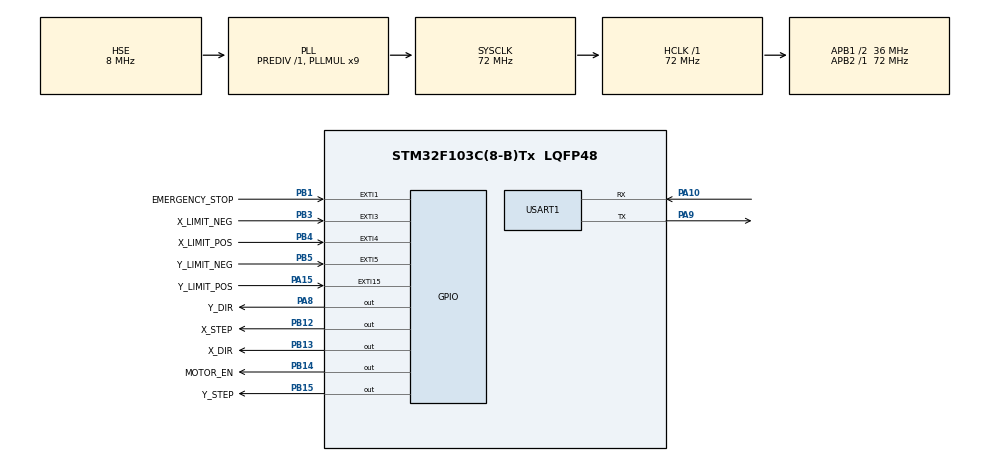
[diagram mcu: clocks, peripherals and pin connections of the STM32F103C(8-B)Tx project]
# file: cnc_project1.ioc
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Mcu.Family=STM32F1
Mcu.Name=STM32F103C(8-B)Tx
Mcu.Package=LQFP48
NVIC.EXTI15_10_IRQn=true\:0\:0\:false\:false\:true\:true\:true\:true
NVIC.EXTI1_IRQn=true\:0\:0\:false\:false\:true\:true\:true\:true
NVIC.EXTI3_IRQn=true\:0\:0\:false\:false\:true\:true\:true\:true
NVIC.EXTI4_IRQn=true\:0\:0\:false\:false\:true\:true\:true\:true
NVIC.EXTI9_5_IRQn=true\:0\:0\:false\:false\:true\:true\:true\:true
NVIC.PriorityGroup=NVIC_PRIORITYGROUP_4
NVIC.TIM2_IRQn=true\:0\:0\:false\:false\:true\:true\:true\:true
NVIC.USART1_IRQn=true\:0\:0\:false\:false\:true\:true\:true\:true
PA10.Mode=Asynchronous
PA10.Signal=USART1_RX
PA13.Mode=Serial_Wire
PA13.Signal=SYS_JTMS-SWDIO
PA14.Mode=Serial_Wire
PA14.Signal=SYS_JTCK-SWCLK
PA15.GPIO_Label=Y_LIMIT_POS
PA15.GPIO_PuPd=GPIO_PULLUP
PA15.Signal=GPXTI15
PA8.GPIO_Label=Y_DIR
PA8.GPIO_ModeDefaultOutputPP=GPIO_MODE_OUTPUT_OD
PA8.GPIO_PuPd=GPIO_NOPULL
PA8.Signal=GPIO_Output
PA9.Mode=Asynchronous
PA9.Signal=USART1_TX
PB1.GPIO_Label=EMERGENCY_STOP
PB1.GPIO_PuPd=GPIO_PULLUP
PB1.Signal=GPXTI1
PB12.GPIO_Label=X_STEP
PB12.GPIO_ModeDefaultOutputPP=GPIO_MODE_OUTPUT_OD
PB12.GPIO_PuPd=GPIO_NOPULL
PB12.Signal=GPIO_Output
PB13.GPIO_Label=X_DIR
PB13.GPIO_ModeDefaultOutputPP=GPIO_MODE_OUTPUT_OD
PB13.GPIO_PuPd=GPIO_NOPULL
PB13.Signal=GPIO_Output
PB14.GPIO_Label=MOTOR_EN
PB14.GPIO_ModeDefaultOutputPP=GPIO_MODE_OUTPUT_OD
PB14.GPIO_PuPd=GPIO_NOPULL
PB14.Signal=GPIO_Output
PB15.GPIO_Label=Y_STEP
PB15.GPIO_ModeDefaultOutputPP=GPIO_MODE_OUTPUT_OD
PB15.GPIO_PuPd=GPIO_NOPULL
PB15.Signal=GPIO_Output
PB3.GPIO_Label=X_LIMIT_NEG
PB3.GPIO_PuPd=GPIO_PULLUP
PB3.Signal=GPXTI3
PB4.GPIO_Label=X_LIMIT_POS
PB4.GPIO_PuPd=GPIO_PULLUP
PB4.Signal=GPXTI4
PB5.GPIO_Label=Y_LIMIT_NEG
PB5.GPIO_PuPd=GPIO_PULLUP
PB5.Signal=GPXTI5
PD0-OSC_IN.Mode=HSE-External-Oscillator
PD0-OSC_IN.Signal=RCC_OSC_IN
PD1-OSC_OUT.Mode=HSE-External-Oscillator
PD1-OSC_OUT.Signal=RCC_OSC_OUT
ProjectManager.HeapSize=0x200
ProjectManager.StackSize=0x400
ProjectManager.TargetToolchain=MDK-ARM V5.32
RCC.AHBFreq_Value=72000000
RCC.APB1CLKDivider=RCC_HCLK_DIV2
RCC.APB1Freq_Value=36000000
RCC.APB1TimFreq_Value=72000000
RCC.APB2Freq_Value=72000000
RCC.APB2TimFreq_Value=72000000
RCC.HCLKFreq_Value=72000000
RCC.PLLMUL=RCC_PLL_MUL9
RCC.PLLSourceVirtual=RCC_PLLSOURCE_HSE
RCC.SYSCLKFreq_VALUE=72000000
RCC.SYSCLKSource=RCC_SYSCLKSOURCE_PLLCLK
RCC.USBFreq_Value=72000000
TIM2.Period=19
TIM2.Prescaler=71
USART1.VirtualMode=VM_ASYNC
VP_TIM2_VS_ClockSourceINT.Mode=Internal
board=custom

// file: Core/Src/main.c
/* USER CODE BEGIN Header */
/**
  ******************************************************************************
  * @file           : main.c
  * @brief          : Main program body
  ******************************************************************************
  * @attention
  *
  * Copyright (c) 2026 STMicroelectronics.
  * All rights reserved.
  *
  * This software is licensed under terms that can be found in the LICENSE file
  * in the root directory of this software component.
  * If no LICENSE file comes with this software, it is provided AS-IS.
  *
  ******************************************************************************
  */
/* USER CODE END Header */
#include "main.h"
#include "tim.h"
#include "usart.h"
#include "gpio.h"

/* USER CODE BEGIN Includes */
#include "stepper.h"
#include "protocol.h"

/* USER CODE END Includes */

/* USER CODE BEGIN PD */
/* ★ 限位保护总开关：光电开关接好、并用万用表确认"未遮挡 = 低电平、遮挡 = 高电平"后
     改成 1。关着的时候硬限位不报警（调试阶段防止悬空输入误触发），但要验收 F5 必须开 */
#define LIMITS_ENABLE   0

/* 上电是否自动回零（1 = 开机先回零；0 = 等上位机发 HOME 指令） */
#define HOME_ON_BOOT    0
/* USER CODE END PD */

void SystemClock_Config(void);

int main(void)
{

  /* MCU Configuration--------------------------------------------------------*/

  /* Reset of all peripherals, Initializes the Flash interface and the Systick. */
  HAL_Init();

  /* Configure the system clock */
  SystemClock_Config();

  /* Initialize all configured peripherals */
  MX_GPIO_Init();
  MX_TIM2_Init();
  MX_USART1_UART_Init();
  /* USER CODE BEGIN 2 */
    /* 步进电机模块初始化：轴对象、参数、引脚 */
    Stepper_Init();

    /* 启动 TIM2 50 kHz 节拍中断（脉冲发生层） */
    if (HAL_TIM_Base_Start_IT(&htim2) != HAL_OK)
    {
        Error_Handler();
    }

#if LIMITS_ENABLE
    Stepper_EnableLimits(1);
#endif

    /* 协议层：启动串口接收中断、准备状态上报 */
    Protocol_Init();

#if HOME_ON_BOOT
    Stepper_HomeStart(STEPPER_X);
#endif
  /* USER CODE END 2 */

  /* Infinite loop */
  /* USER CODE BEGIN WHILE */
  while (1)
  {
      /* 主循环只做一件事：收行 → 分派 → 定时上报
         串口中断只入队，运动函数在主循环里调用（任务书 4.1：中断里不碰脉冲引脚） */
      Protocol_Poll();

  }
}
void SystemClock_Config(void)
{
  RCC_OscInitTypeDef RCC_OscInitStruct = {0};
  RCC_ClkInitTypeDef RCC_ClkInitStruct = {0};

  /** Initializes the RCC Oscillators according to the specified parameters
  * in the RCC_OscInitTypeDef structure.
  */
  RCC_OscInitStruct.OscillatorType = RCC_OSCILLATORTYPE_HSE;
  RCC_OscInitStruct.HSEState = RCC_HSE_ON;
  RCC_OscInitStruct.HSEPredivValue = RCC_HSE_PREDIV_DIV1;
  RCC_OscInitStruct.HSIState = RCC_HSI_ON;
  RCC_OscInitStruct.PLL.PLLState = RCC_PLL_ON;
  RCC_OscInitStruct.PLL.PLLSource = RCC_PLLSOURCE_HSE;
  RCC_OscInitStruct.PLL.PLLMUL = RCC_PLL_MUL9;
  if (HAL_RCC_OscConfig(&RCC_OscInitStruct) != HAL_OK)
  {
    Error_Handler();
  }

  /** Initializes the CPU, AHB and APB buses clocks
  */
  RCC_ClkInitStruct.ClockType = RCC_CLOCKTYPE_HCLK|RCC_CLOCKTYPE_SYSCLK
                              |RCC_CLOCKTYPE_PCLK1|RCC_CLOCKTYPE_PCLK2;
  RCC_ClkInitStruct.SYSCLKSource = RCC_SYSCLKSOURCE_PLLCLK;
  RCC_ClkInitStruct.AHBCLKDivider = RCC_SYSCLK_DIV1;
  RCC_ClkInitStruct.APB1CLKDivider = RCC_HCLK_DIV2;
  RCC_ClkInitStruct.APB2CLKDivider = RCC_HCLK_DIV1;

  if (HAL_RCC_ClockConfig(&RCC_ClkInitStruct, FLASH_LATENCY_2) != HAL_OK)
  {
    Error_Handler();
  }
}

/* USER CODE BEGIN 4 */
void HAL_TIM_PeriodElapsedCallback(TIM_HandleTypeDef *htim)
{
    if (htim->Instance == TIM2)
    {
        Stepper_TIM_Callback();
    }
}
/* USER CODE END 4 */

void Error_Handler(void)
{
  __disable_irq();
  while (1)
  {
  }
}
